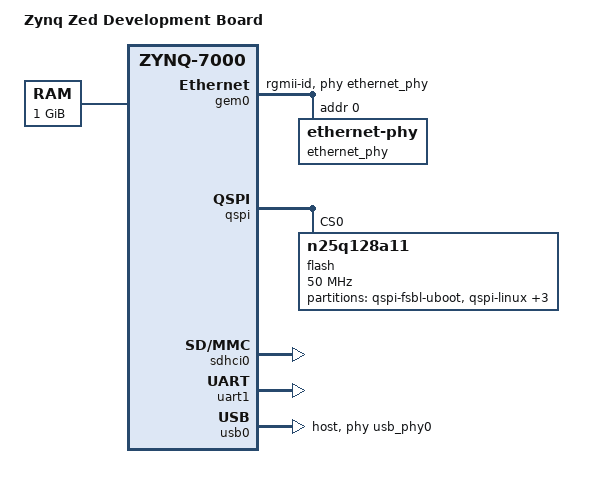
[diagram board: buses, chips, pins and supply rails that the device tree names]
/*
 *  Copyright (C) 2011 - 2014 Xilinx
 *  Copyright (C) 2012 National Instruments Corp.
 *
 * This software is licensed under the terms of the GNU General Public
 * License version 2, as published by the Free Software Foundation, and
 * may be copied, distributed, and modified under those terms.
 *
 * This program is distributed in the hope that it will be useful,
 * but WITHOUT ANY WARRANTY; without even the implied warranty of
 * MERCHANTABILITY or FITNESS FOR A PARTICULAR PURPOSE.  See the
 * GNU General Public License for more details.
 */
/dts-v1/;
/include/ "zynq-7000.dtsi"

/ {
	model = "Zynq Zed Development Board";
	compatible = "xlnx,zynq-zed", "xlnx,zynq-7000";

	aliases {
		ethernet0 = &gem0;
		serial0 = &uart1;
		spi0 = &qspi;
		mmc0 = &sdhci0;
	};

	memory {
		device_type = "memory";
		reg = <0x0 0x40000000>;
	};

	chosen {
		bootargs = "console=ttyPS0,115200 root=/dev/nfs rw nfsroot=192.168.2.11:/home/fepaje/WD/nfs,tcp,nfsvers=3 ip=192.168.2.10:::255.255.255.0:reconos:eth0:off earlyprintk";
		stdout-path = "serial0:115200n8";
	};

	usb_phy0: phy0 {
		compatible = "ulpi-phy";
		#phy-cells = <0>;
		reg = <0xe0002000 0x1000>;
		view-port = <0x0170>;
		drv-vbus;
	};

	amba: amba {
		reconos_osif: reconos_osif@75a00000 {
			compatible = "upb,reconos-osif-3.1";
			reg = <0x75a00000 0x10000>;
		};

		reconos_osif_intc: reconos_osif_intc@7b400000 {
			compatible = "upb,reconos-osif-intc-3.1";
			reg = <0x7b400000 0x10000>;
			interrup-parent = <&intc>;
			interrupts = <0 58 4>;
		};

		reconos_proc_control: reconos_proc_control@6fe00000 {
			compatible = "upb,reconos-control-3.1";
			reg = <0x6fe00000 0x10000>;
			interrupt-parent = <&intc>;
			interrupts = <0 59 4>;
		};
	};
};

&clkc {
	ps-clk-frequency = <33333333>;
};

&gem0 {
	status = "okay";
	phy-mode = "rgmii-id";
	phy-handle = <&ethernet_phy>;

	ethernet_phy: ethernet-phy@0 {
		reg = <0>;
	};
};

&qspi {
	status = "okay";
	is-dual = <0>;
	num-cs = <1>;
	flash@0 {
		compatible = "n25q128a11";
		reg = <0x0>;
		spi-tx-bus-width = <1>;
		spi-rx-bus-width = <4>;
		spi-max-frequency = <50000000>;
		#address-cells = <1>;
		#size-cells = <1>;
		partition@qspi-fsbl-uboot {
			label = "qspi-fsbl-uboot";
			reg = <0x0 0x100000>;
		};
		partition@qspi-linux {
			label = "qspi-linux";
			reg = <0x100000 0x500000>;
		};
		partition@qspi-device-tree {
			label = "qspi-device-tree";
			reg = <0x600000 0x20000>;
		};
		partition@qspi-rootfs {
			label = "qspi-rootfs";
			reg = <0x620000 0x5E0000>;
		};
		partition@qspi-bitstream {
			label = "qspi-bitstream";
			reg = <0xC00000 0x400000>;
		};
	};
};

&sdhci0 {
	status = "okay";
};

&uart1 {
	status = "okay";
};

&usb0 {
	status = "okay";
	dr_mode = "host";
	usb-phy = <&usb_phy0>;
};
